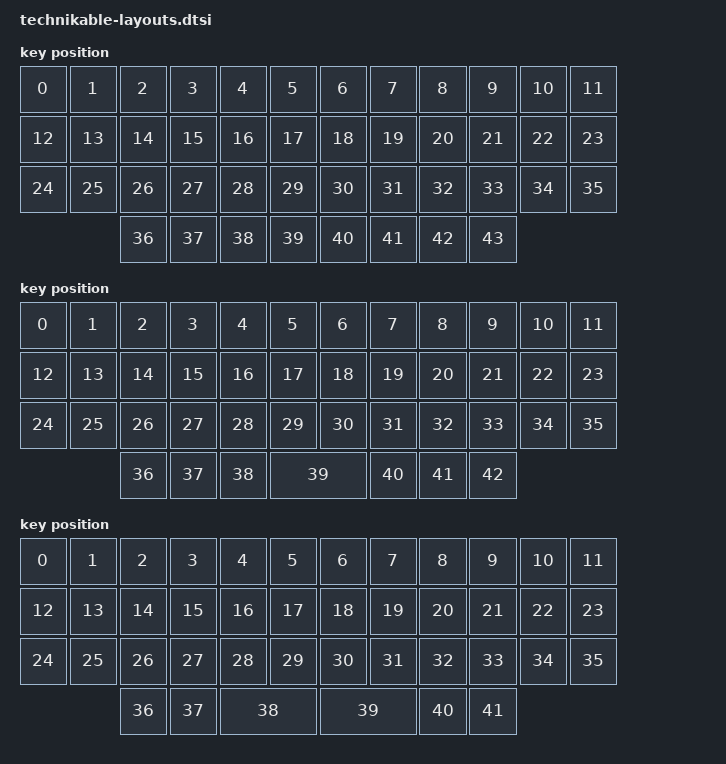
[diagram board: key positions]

#include <physical_layouts.dtsi>

/ {
    technikable_ortho_layout: technikable_ortho_layout {
        compatible = "zmk,physical-layout";
        display-name = "Full Ortho";

        keys  //                     w   h    x    y     rot    rx    ry
            = <&key_physical_attrs 100 100    0    0       0     0     0>
            , <&key_physical_attrs 100 100  100    0       0     0     0>
            , <&key_physical_attrs 100 100  200    0       0     0     0>
            , <&key_physical_attrs 100 100  300    0       0     0     0>
            , <&key_physical_attrs 100 100  400    0       0     0     0>
            , <&key_physical_attrs 100 100  500    0       0     0     0>
            , <&key_physical_attrs 100 100  600    0       0     0     0>
            , <&key_physical_attrs 100 100  700    0       0     0     0>
            , <&key_physical_attrs 100 100  800    0       0     0     0>
            , <&key_physical_attrs 100 100  900    0       0     0     0>
            , <&key_physical_attrs 100 100 1000    0       0     0     0>
            , <&key_physical_attrs 100 100 1100    0       0     0     0>
            , <&key_physical_attrs 100 100    0  100       0     0     0>
            , <&key_physical_attrs 100 100  100  100       0     0     0>
            , <&key_physical_attrs 100 100  200  100       0     0     0>
            , <&key_physical_attrs 100 100  300  100       0     0     0>
            , <&key_physical_attrs 100 100  400  100       0     0     0>
            , <&key_physical_attrs 100 100  500  100       0     0     0>
            , <&key_physical_attrs 100 100  600  100       0     0     0>
            , <&key_physical_attrs 100 100  700  100       0     0     0>
            , <&key_physical_attrs 100 100  800  100       0     0     0>
            , <&key_physical_attrs 100 100  900  100       0     0     0>
            , <&key_physical_attrs 100 100 1000  100       0     0     0>
            , <&key_physical_attrs 100 100 1100  100       0     0     0>
            , <&key_physical_attrs 100 100    0  200       0     0     0>
            , <&key_physical_attrs 100 100  100  200       0     0     0>
            , <&key_physical_attrs 100 100  200  200       0     0     0>
            , <&key_physical_attrs 100 100  300  200       0     0     0>
            , <&key_physical_attrs 100 100  400  200       0     0     0>
            , <&key_physical_attrs 100 100  500  200       0     0     0>
            , <&key_physical_attrs 100 100  600  200       0     0     0>
            , <&key_physical_attrs 100 100  700  200       0     0     0>
            , <&key_physical_attrs 100 100  800  200       0     0     0>
            , <&key_physical_attrs 100 100  900  200       0     0     0>
            , <&key_physical_attrs 100 100 1000  200       0     0     0>
            , <&key_physical_attrs 100 100 1100  200       0     0     0>
            , <&key_physical_attrs 100 100  200  300       0     0     0>
            , <&key_physical_attrs 100 100  300  300       0     0     0>
            , <&key_physical_attrs 100 100  400  300       0     0     0>
            , <&key_physical_attrs 100 100  500  300       0     0     0>
            , <&key_physical_attrs 100 100  600  300       0     0     0>
            , <&key_physical_attrs 100 100  700  300       0     0     0>
            , <&key_physical_attrs 100 100  800  300       0     0     0>
            , <&key_physical_attrs 100 100  900  300       0     0     0>
            ;
    };

    technikable_mit_layout: technikable_mit_layout {
        compatible = "zmk,physical-layout";
        display-name = "MIT (Single 2u)";

        keys  //                     w   h    x    y     rot    rx    ry
            = <&key_physical_attrs 100 100    0    0       0     0     0>
            , <&key_physical_attrs 100 100  100    0       0     0     0>
            , <&key_physical_attrs 100 100  200    0       0     0     0>
            , <&key_physical_attrs 100 100  300    0       0     0     0>
            , <&key_physical_attrs 100 100  400    0       0     0     0>
            , <&key_physical_attrs 100 100  500    0       0     0     0>
            , <&key_physical_attrs 100 100  600    0       0     0     0>
            , <&key_physical_attrs 100 100  700    0       0     0     0>
            , <&key_physical_attrs 100 100  800    0       0     0     0>
            , <&key_physical_attrs 100 100  900    0       0     0     0>
            , <&key_physical_attrs 100 100 1000    0       0     0     0>
            , <&key_physical_attrs 100 100 1100    0       0     0     0>
            , <&key_physical_attrs 100 100    0  100       0     0     0>
            , <&key_physical_attrs 100 100  100  100       0     0     0>
            , <&key_physical_attrs 100 100  200  100       0     0     0>
            , <&key_physical_attrs 100 100  300  100       0     0     0>
            , <&key_physical_attrs 100 100  400  100       0     0     0>
            , <&key_physical_attrs 100 100  500  100       0     0     0>
            , <&key_physical_attrs 100 100  600  100       0     0     0>
            , <&key_physical_attrs 100 100  700  100       0     0     0>
            , <&key_physical_attrs 100 100  800  100       0     0     0>
            , <&key_physical_attrs 100 100  900  100       0     0     0>
            , <&key_physical_attrs 100 100 1000  100       0     0     0>
            , <&key_physical_attrs 100 100 1100  100       0     0     0>
            , <&key_physical_attrs 100 100    0  200       0     0     0>
            , <&key_physical_attrs 100 100  100  200       0     0     0>
            , <&key_physical_attrs 100 100  200  200       0     0     0>
            , <&key_physical_attrs 100 100  300  200       0     0     0>
            , <&key_physical_attrs 100 100  400  200       0     0     0>
            , <&key_physical_attrs 100 100  500  200       0     0     0>
            , <&key_physical_attrs 100 100  600  200       0     0     0>
            , <&key_physical_attrs 100 100  700  200       0     0     0>
            , <&key_physical_attrs 100 100  800  200       0     0     0>
            , <&key_physical_attrs 100 100  900  200       0     0     0>
            , <&key_physical_attrs 100 100 1000  200       0     0     0>
            , <&key_physical_attrs 100 100 1100  200       0     0     0>
            , <&key_physical_attrs 100 100  200  300       0     0     0>
            , <&key_physical_attrs 100 100  300  300       0     0     0>
            , <&key_physical_attrs 100 100  400  300       0     0     0>
            , <&key_physical_attrs 200 100  500  300       0     0     0>
            , <&key_physical_attrs 100 100  700  300       0     0     0>
            , <&key_physical_attrs 100 100  800  300       0     0     0>
            , <&key_physical_attrs 100 100  900  300       0     0     0>
            ;
    };

    technikable_dual_2u_layout: technikable_dual_2u_layout {
        compatible = "zmk,physical-layout";
        display-name = "Dual 2u";

        keys  //                     w   h    x    y     rot    rx    ry
            = <&key_physical_attrs 100 100    0    0       0     0     0>
            , <&key_physical_attrs 100 100  100    0       0     0     0>
            , <&key_physical_attrs 100 100  200    0       0     0     0>
            , <&key_physical_attrs 100 100  300    0       0     0     0>
            , <&key_physical_attrs 100 100  400    0       0     0     0>
            , <&key_physical_attrs 100 100  500    0       0     0     0>
            , <&key_physical_attrs 100 100  600    0       0     0     0>
            , <&key_physical_attrs 100 100  700    0       0     0     0>
            , <&key_physical_attrs 100 100  800    0       0     0     0>
            , <&key_physical_attrs 100 100  900    0       0     0     0>
            , <&key_physical_attrs 100 100 1000    0       0     0     0>
            , <&key_physical_attrs 100 100 1100    0       0     0     0>
            , <&key_physical_attrs 100 100    0  100       0     0     0>
            , <&key_physical_attrs 100 100  100  100       0     0     0>
            , <&key_physical_attrs 100 100  200  100       0     0     0>
            , <&key_physical_attrs 100 100  300  100       0     0     0>
            , <&key_physical_attrs 100 100  400  100       0     0     0>
            , <&key_physical_attrs 100 100  500  100       0     0     0>
            , <&key_physical_attrs 100 100  600  100       0     0     0>
            , <&key_physical_attrs 100 100  700  100       0     0     0>
            , <&key_physical_attrs 100 100  800  100       0     0     0>
            , <&key_physical_attrs 100 100  900  100       0     0     0>
            , <&key_physical_attrs 100 100 1000  100       0     0     0>
            , <&key_physical_attrs 100 100 1100  100       0     0     0>
            , <&key_physical_attrs 100 100    0  200       0     0     0>
            , <&key_physical_attrs 100 100  100  200       0     0     0>
            , <&key_physical_attrs 100 100  200  200       0     0     0>
            , <&key_physical_attrs 100 100  300  200       0     0     0>
            , <&key_physical_attrs 100 100  400  200       0     0     0>
            , <&key_physical_attrs 100 100  500  200       0     0     0>
            , <&key_physical_attrs 100 100  600  200       0     0     0>
            , <&key_physical_attrs 100 100  700  200       0     0     0>
            , <&key_physical_attrs 100 100  800  200       0     0     0>
            , <&key_physical_attrs 100 100  900  200       0     0     0>
            , <&key_physical_attrs 100 100 1000  200       0     0     0>
            , <&key_physical_attrs 100 100 1100  200       0     0     0>
            , <&key_physical_attrs 100 100  200  300       0     0     0>
            , <&key_physical_attrs 100 100  300  300       0     0     0>
            , <&key_physical_attrs 200 100  400  300       0     0     0>
            , <&key_physical_attrs 200 100  600  300       0     0     0>
            , <&key_physical_attrs 100 100  800  300       0     0     0>
            , <&key_physical_attrs 100 100  900  300       0     0     0>
            ;
    };

    technikable_position_map: technikable_position_map {
	    compatible = "zmk,physical-layout-position-map";

	    ortho {
		    physical-layout = <&technikable_ortho_layout>;

		    positions = <37 38 39 40 41 42 43>;
	    };

	    mit {
		    physical-layout = <&technikable_mit_layout>;

		    positions = <37 38 39 43 40 41 42>;
	    };

	    dual_2u {
		    physical-layout = <&technikable_dual_2u_layout>;

		    positions = <42 37 38 39 40 41 43>;
	    };
    };
};

